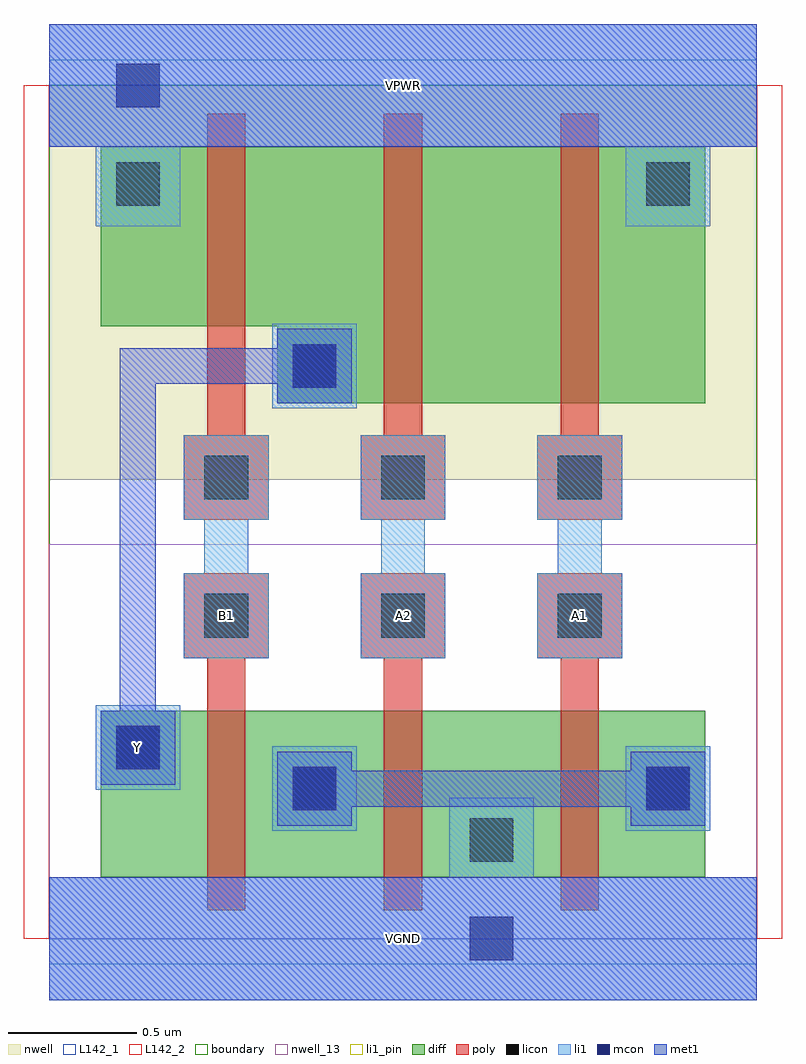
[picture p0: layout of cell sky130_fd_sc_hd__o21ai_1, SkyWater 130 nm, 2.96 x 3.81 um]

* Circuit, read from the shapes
.subckt sky130_fd_sc_hd__o21ai_1 A1 A2 B1 VGND VPWR Y
XM1 n1 B1 Y VSUBS sky130_fd_pr__nfet_01v8 w=0.65 l=0.15
XM2 VGND A2 n1 VSUBS sky130_fd_pr__nfet_01v8 w=0.65 l=0.15
XM3 n1 A1 VGND VSUBS sky130_fd_pr__nfet_01v8 w=0.65 l=0.15
XM4 Y B1 VPWR n2 sky130_fd_pr__pfet_01v8 w=0.7 l=0.15
XM5 n3 A2 Y n2 sky130_fd_pr__pfet_01v8 w=1 l=0.15
XM6 VPWR A1 n3 n2 sky130_fd_pr__pfet_01v8 w=1 l=0.15
.ends

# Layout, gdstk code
import gdstk
lib = gdstk.Library(unit=1e-6, precision=1e-09)
def R(c, l, rs):  # rectangles x0, y0, x1, y1
    for r in rs: c.add(gdstk.rectangle(r[:2], r[2:], *l))
def A(c, l, x, y, w, h, nx, ny, dx, dy):  # array of equal rectangles
    R(c, l, [(x+i*dx, y+j*dy, x+i*dx+w, y+j*dy+h) for i in range(nx) for j in range(ny)])
def P(c, l, *ps):  # polygons
    for p in ps: c.add(gdstk.Polygon(p, *l))
nwell_13 = (64, 13)
nwell = (64, 20)
diff = (65, 20)
poly = (66, 20)
licon = (66, 44)
li1_pin = (67, 16)
li1 = (67, 20)
mcon = (67, 44)
met1 = (68, 20)
L142_1 = (142, 1)
L142_2 = (142, 2)
boundary = (235, 4)

sky130_fd_sc_hd__o21ai_1 = lib.new_cell('sky130_fd_sc_hd__o21ai_1')
R(sky130_fd_sc_hd__o21ai_1, nwell_13, [(0,0,2.76,1.54)])
R(sky130_fd_sc_hd__o21ai_1, nwell, [(0,1.79,2.76,3.33)])
R(sky130_fd_sc_hd__o21ai_1, diff, [(0.2,0.24,2.56,0.89), (0.2,0.24,0.615,0.89), (0.615,0.24,1.305,0.89), (1.305,0.24,1.995,0.89), (1.995,0.24,2.56,0.89), (1.305,2.09,1.995,3.09), (1.995,2.09,2.56,3.09), (0.2,2.39,0.615,3.09)])
P(sky130_fd_sc_hd__o21ai_1, diff, [(0.89,2.09),(0.89,2.39),(0.2,2.39),(0.2,3.09),(2.56,3.09),(2.56,2.09)],
  [(0.89,2.09),(0.89,2.39),(0.615,2.39),(0.615,3.09),(1.305,3.09),(1.305,2.09)])
P(sky130_fd_sc_hd__o21ai_1, poly, [(1.305,0.11),(1.305,1.095),(1.215,1.095),(1.215,1.425),(1.545,1.425),(1.545,1.095),(1.455,1.095),(1.455,0.11)],
  [(1.215,1.635),(1.215,1.965),(1.305,1.965),(1.305,3.22),(1.455,3.22),(1.455,1.965),(1.545,1.965),(1.545,1.635)],
  [(1.995,0.11),(1.995,1.095),(1.905,1.095),(1.905,1.425),(2.235,1.425),(2.235,1.095),(2.145,1.095),(2.145,0.11)],
  [(1.905,1.635),(1.905,1.965),(1.995,1.965),(1.995,3.22),(2.145,3.22),(2.145,1.965),(2.235,1.965),(2.235,1.635)],
  [(0.615,0.11),(0.615,1.095),(0.525,1.095),(0.525,1.425),(0.855,1.425),(0.855,1.095),(0.765,1.095),(0.765,0.11)],
  [(0.525,1.635),(0.525,1.965),(0.615,1.965),(0.615,3.22),(0.765,3.22),(0.765,1.965),(0.855,1.965),(0.855,1.635)])
A(sky130_fd_sc_hd__o21ai_1, licon, 0.605, 1.175, 0.17, 0.17, 3, 2, 0.69, 0.54)
R(sky130_fd_sc_hd__o21ai_1, licon, [(1.64,0.3,1.81,0.47), (0.95,0.5,1.12,0.67), (2.33,0.5,2.5,0.67), (0.26,0.66,0.43,0.83), (0.95,2.15,1.12,2.32), (0.26,2.86,0.43,3.03), (2.33,2.86,2.5,3.03)])
R(sky130_fd_sc_hd__o21ai_1, li1_pin, [(0,-0.24,2.76,0.24), (0.18,0.58,0.51,0.91), (0,3.09,2.76,3.57)])
P(sky130_fd_sc_hd__o21ai_1, li1_pin, [(1.215,1.095),(1.215,1.425),(1.295,1.425),(1.295,1.635),(1.215,1.635),(1.215,1.965),(1.545,1.965),(1.545,1.635),(1.465,1.635),(1.465,1.425),(1.545,1.425),(1.545,1.095)],
  [(0.525,1.095),(0.525,1.425),(0.605,1.425),(0.605,1.635),(0.525,1.635),(0.525,1.965),(0.855,1.965),(0.855,1.635),(0.775,1.635),(0.775,1.425),(0.855,1.425),(0.855,1.095)],
  [(1.905,1.095),(1.905,1.425),(1.985,1.425),(1.985,1.635),(1.905,1.635),(1.905,1.965),(2.235,1.965),(2.235,1.635),(2.155,1.635),(2.155,1.425),(2.235,1.425),(2.235,1.095)])
R(sky130_fd_sc_hd__o21ai_1, li1, [(0.87,0.42,1.2,0.75), (2.25,0.42,2.58,0.75), (0.18,0.58,0.51,0.91), (0.87,2.07,1.2,2.4)])
P(sky130_fd_sc_hd__o21ai_1, li1, [(1.215,1.095),(1.215,1.425),(1.295,1.425),(1.295,1.635),(1.215,1.635),(1.215,1.965),(1.545,1.965),(1.545,1.635),(1.465,1.635),(1.465,1.425),(1.545,1.425),(1.545,1.095)],
  [(0.18,2.78),(0.18,3.09),(0,3.09),(0,3.57),(2.76,3.57),(2.76,3.09),(2.58,3.09),(2.58,2.78),(2.25,2.78),(2.25,3.09),(0.51,3.09),(0.51,2.78)],
  [(1.905,1.095),(1.905,1.425),(1.985,1.425),(1.985,1.635),(1.905,1.635),(1.905,1.965),(2.235,1.965),(2.235,1.635),(2.155,1.635),(2.155,1.425),(2.235,1.425),(2.235,1.095)],
  [(0,-0.24),(0,0.24),(1.56,0.24),(1.56,0.55),(1.89,0.55),(1.89,0.24),(2.76,0.24),(2.76,-0.24)],
  [(0.525,1.095),(0.525,1.425),(0.605,1.425),(0.605,1.635),(0.525,1.635),(0.525,1.965),(0.855,1.965),(0.855,1.635),(0.775,1.635),(0.775,1.425),(0.855,1.425),(0.855,1.095)])
R(sky130_fd_sc_hd__o21ai_1, mcon, [(1.64,-0.085,1.81,0.085), (0.95,0.5,1.12,0.67), (2.33,0.5,2.5,0.67), (0.26,0.66,0.43,0.83), (0.95,2.15,1.12,2.32), (0.26,3.245,0.43,3.415)])
R(sky130_fd_sc_hd__o21ai_1, met1, [(0,-0.24,2.76,0.24), (0,3.09,2.76,3.57)])
P(sky130_fd_sc_hd__o21ai_1, met1, [(0.2,0.6),(0.2,0.89),(0.275,0.89),(0.275,2.305),(0.89,2.305),(0.89,2.38),(1.18,2.38),(1.18,2.09),(0.89,2.09),(0.89,2.165),(0.415,2.165),(0.415,0.89),(0.49,0.89),(0.49,0.6)],
  [(0.89,0.44),(0.89,0.73),(1.18,0.73),(1.18,0.655),(2.27,0.655),(2.27,0.73),(2.56,0.73),(2.56,0.44),(2.27,0.44),(2.27,0.515),(1.18,0.515),(1.18,0.44)])
R(sky130_fd_sc_hd__o21ai_1, L142_1, [(0,-0.1,2.76,0), (0,3.33,2.76,3.43)])
R(sky130_fd_sc_hd__o21ai_1, L142_2, [(-0.1,0,0,3.33), (2.76,0,2.86,3.33)])
R(sky130_fd_sc_hd__o21ai_1, boundary, [(0,0,2.76,3.33)])
sky130_fd_sc_hd__o21ai_1.add(gdstk.Label('Y', (0.345,0.745), layer=67, texttype=5))
sky130_fd_sc_hd__o21ai_1.add(gdstk.Label('A2', (1.38,1.26), layer=67, texttype=5))
sky130_fd_sc_hd__o21ai_1.add(gdstk.Label('B1', (0.69,1.26), layer=67, texttype=5))
sky130_fd_sc_hd__o21ai_1.add(gdstk.Label('A1', (2.07,1.26), layer=67, texttype=5))
sky130_fd_sc_hd__o21ai_1.add(gdstk.Label('VGND', (1.38,0), layer=67, texttype=5))
sky130_fd_sc_hd__o21ai_1.add(gdstk.Label('VPWR', (1.38,3.33), layer=67, texttype=5))
sky130_fd_sc_hd__o21ai_1.add(gdstk.Label('VGND', (1.38,0), layer=68, texttype=5))
sky130_fd_sc_hd__o21ai_1.add(gdstk.Label('VPWR', (1.38,3.33), layer=68, texttype=5))

lib.write_gds('sky130_fd_sc_hd__o21ai_1.gds')
